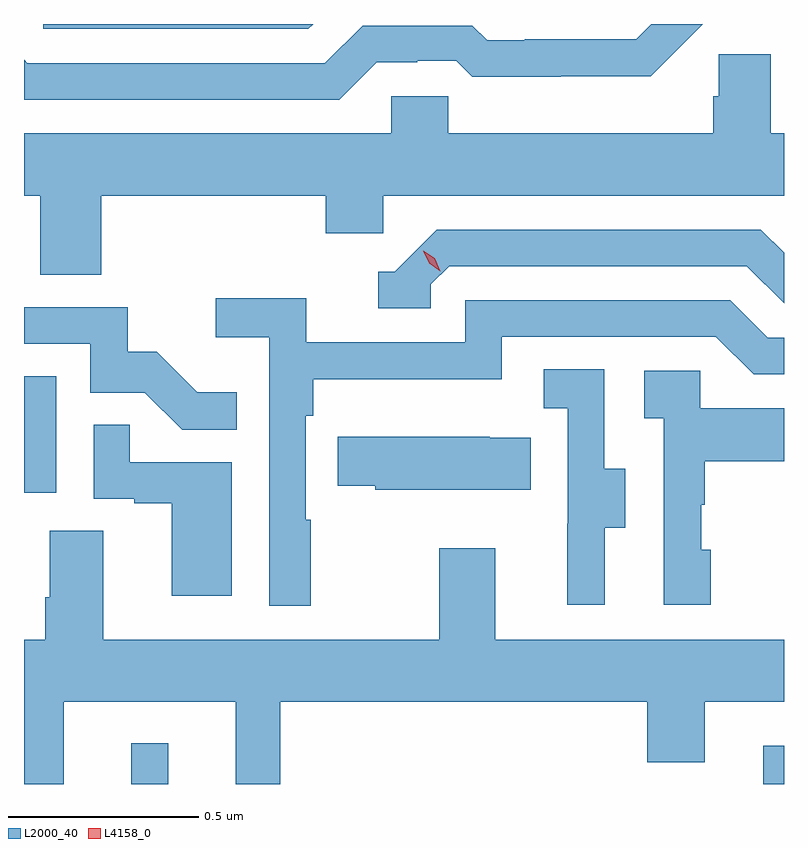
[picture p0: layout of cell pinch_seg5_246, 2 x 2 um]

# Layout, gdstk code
import gdstk
lib = gdstk.Library(unit=1e-6, precision=1e-09)
def R(c, l, rs):  # rectangles x0, y0, x1, y1
    for r in rs: c.add(gdstk.rectangle(r[:2], r[2:], *l))
def P(c, l, *ps):  # polygons
    for p in ps: c.add(gdstk.Polygon(p, *l))
L2000_40 = (2000, 40)
L4158_0 = (4158, 0)

pinch_seg5_246 = lib.new_cell('pinch_seg5_246')
R(pinch_seg5_246, L2000_40, [(921.147,899.168,921.244,899.275), (922.811,899.168,922.865,899.269), (920.865,899.934,920.95,900.241)])
P(pinch_seg5_246, L2000_40, [(921.793,901.068),(921.9,901.068),(921.9,901.071),(922.003,901.071),(922.045,901.029),(922.278,901.029),(922.278,901.031),(922.514,901.031),(922.651,901.168),(922.516,901.168),(922.476,901.128),(922.183,901.128),(922.183,901.125),(922.084,901.125),(922.045,901.164),(921.756,901.164),(921.657,901.065),(920.874,901.065),(920.865,901.074),(920.865,900.969),(921.694,900.969)],
  [(921.626,901.168),(920.916,901.168),(920.916,901.155),(921.613,901.155)],
  [(921.068,900.716),(921.659,900.716),(921.659,900.618),(921.81,900.618),(921.81,900.716),(922.865,900.716),(922.865,900.88),(922.83,900.88),(922.83,901.088),(922.693,901.088),(922.693,900.978),(922.679,900.978),(922.679,900.88),(921.981,900.88),(921.981,900.978),(921.831,900.978),(921.831,900.88),(920.865,900.88),(920.865,900.716),(920.908,900.716),(920.908,900.508),(921.068,900.508)],
  [(921.936,900.483),(921.984,900.531),(922.767,900.531),(922.865,900.433),(922.865,900.566),(922.804,900.627),(921.951,900.627),(921.84,900.516),(921.797,900.516),(921.797,900.42),(921.936,900.42)],
  [(921.619,899.864),(921.606,899.864),(921.606,900.137),(921.626,900.137),(921.626,900.233),(922.122,900.233),(922.122,900.345),(922.686,900.345),(922.785,900.246),(922.865,900.246),(922.865,900.342),(922.822,900.342),(922.723,900.441),(922.026,900.441),(922.026,900.33),(921.608,900.33),(921.608,900.446),(921.369,900.446),(921.369,900.344),(921.51,900.344),(921.51,899.637),(921.619,899.637)],
  [(921.425,900.199),(921.321,900.199),(921.214,900.306),(921.138,900.306),(921.138,900.423),(920.865,900.423),(920.865,900.327),(921.039,900.327),(921.039,900.198),(921.183,900.198),(921.281,900.1),(921.425,900.1)],
  [(922.393,899.842),(922.447,899.842),(922.447,899.997),(922.392,899.997),(922.392,900.26),(922.233,900.26),(922.233,900.157),(922.296,900.157),(922.296,899.853),(922.295,899.853),(922.295,899.64),(922.393,899.64)],
  [(922.672,899.784),(922.647,899.784),(922.647,899.903),(922.657,899.903),(922.657,900.017),(922.865,900.017),(922.865,900.157),(922.644,900.157),(922.644,900.255),(922.497,900.255),(922.497,900.131),(922.548,900.131),(922.548,899.64),(922.672,899.64)],
  [(921.412,900.015),(921.143,900.015),(921.143,900.113),(921.048,900.113),(921.048,899.919),(921.155,899.919),(921.155,899.907),(921.254,899.907),(921.254,899.664),(921.412,899.664)],
  [(922.199,900.079),(922.091,900.079),(922.091,900.082),(921.691,900.082),(921.691,899.953),(921.789,899.953),(921.789,899.942),(922.199,899.942)],
  [(920.969,899.384),(921.422,899.384),(921.422,899.168),(921.539,899.168),(921.539,899.384),(922.505,899.384),(922.505,899.225),(922.657,899.225),(922.657,899.384),(922.865,899.384),(922.865,899.548),(922.105,899.548),(922.105,899.788),(921.958,899.788),(921.958,899.548),(921.073,899.548),(921.073,899.834),(920.933,899.834),(920.933,899.66),(920.921,899.66),(920.921,899.548),(920.865,899.548),(920.865,899.168),(920.969,899.168)])
P(pinch_seg5_246, L4158_0, [(921.961,900.518),(921.931,900.538),(921.915,900.571),(921.915,900.571),(921.916,900.571),(921.946,900.551),(921.961,900.518),(921.961,900.518)])

lib.write_gds('pinch_seg5_246.gds')
